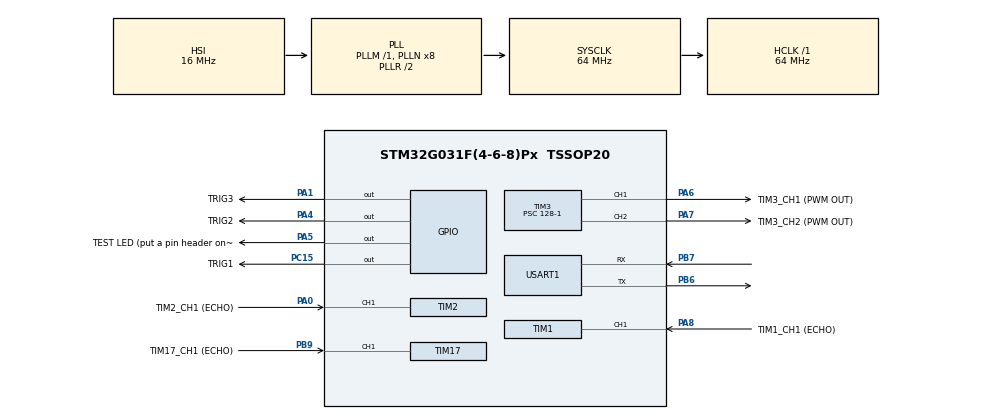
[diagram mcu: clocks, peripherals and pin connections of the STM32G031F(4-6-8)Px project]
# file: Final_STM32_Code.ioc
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Dma.Request0=USART1_RX
Dma.USART1_RX.0.Direction=DMA_PERIPH_TO_MEMORY
Dma.USART1_RX.0.EventEnable=DISABLE
Dma.USART1_RX.0.Instance=DMA1_Channel1
Dma.USART1_RX.0.MemDataAlignment=DMA_MDATAALIGN_BYTE
Dma.USART1_RX.0.MemInc=DMA_MINC_ENABLE
Dma.USART1_RX.0.Mode=DMA_NORMAL
Dma.USART1_RX.0.PeriphDataAlignment=DMA_PDATAALIGN_BYTE
Dma.USART1_RX.0.PeriphInc=DMA_PINC_DISABLE
Dma.USART1_RX.0.Polarity=HAL_DMAMUX_REQ_GEN_RISING
Dma.USART1_RX.0.Priority=DMA_PRIORITY_LOW
Dma.USART1_RX.0.RequestNumber=1
Dma.USART1_RX.0.SignalID=NONE
Dma.USART1_RX.0.SyncEnable=DISABLE
Dma.USART1_RX.0.SyncPolarity=HAL_DMAMUX_SYNC_NO_EVENT
Dma.USART1_RX.0.SyncRequestNumber=1
Dma.USART1_RX.0.SyncSignalID=NONE
Mcu.Family=STM32G0
Mcu.Name=STM32G031F(4-6-8)Px
Mcu.Package=TSSOP20
NVIC.DMA1_Channel1_IRQn=true\:0\:0\:false\:false\:true\:false\:true\:true
NVIC.TIM17_IRQn=true\:0\:0\:false\:false\:true\:true\:true\:true
NVIC.TIM1_CC_IRQn=true\:0\:0\:false\:false\:true\:true\:true\:true
NVIC.TIM2_IRQn=true\:0\:0\:false\:false\:true\:true\:true\:true
NVIC.USART1_IRQn=true\:0\:0\:false\:false\:true\:true\:true\:true
PA0.GPIO_Label=TIM2_CH1 (ECHO)
PA0.Signal=S_TIM2_CH1_ETR
PA1.GPIO_Label=TRIG3
PA1.Signal=GPIO_Output
PA14-BOOT0__PA15.StandardMode=true
PA4.GPIO_Label=TRIG2
PA4.Signal=GPIO_Output
PA5.GPIO_Label=TEST LED (put a pin header on the line)
PA5.Signal=GPIO_Output
PA6.GPIO_Label=TIM3_CH1 (PWM OUT)
PA6.Signal=S_TIM3_CH1
PA7.GPIO_Label=TIM3_CH2 (PWM OUT)
PA7.Signal=S_TIM3_CH2
PA8.GPIO_Label=TIM1_CH1 (ECHO)
PA8.Signal=S_TIM1_CH1
PB0__PB1__PB2__PA8.StandardMode=true
PB3__PB4__PB5__PB6.StandardMode=true
PB6.Mode=Asynchronous
PB6.Signal=USART1_TX
PB7.Mode=Asynchronous
PB7.Signal=USART1_RX
PB7__PB8.StandardMode=true
PB9.GPIO_Label=TIM17_CH1 (ECHO)
PB9.Signal=S_TIM17_CH1
PC14-OSC32_IN\ (PC14)__PB9.StandardMode=true
PC15-OSC32_OUT\ (PC15).GPIO_Label=TRIG1
PC15-OSC32_OUT\ (PC15).Signal=GPIO_Output
ProjectManager.HeapSize=0x200
ProjectManager.StackSize=0x400
ProjectManager.TargetToolchain=STM32CubeIDE
RCC.ADCFreq_Value=64000000
RCC.AHBFreq_Value=64000000
RCC.CortexFreq_Value=64000000
RCC.EXTERNAL_CLOCK_VALUE=12288000
RCC.HCLKFreq_Value=64000000
RCC.HSE_VALUE=8000000
RCC.HSI_VALUE=16000000
RCC.LSE_VALUE=32768
RCC.SYSCLKFreq_VALUE=64000000
RCC.SYSCLKSource=RCC_SYSCLKSOURCE_PLLCLK
RCC.VCOOutputFreq_Value=128000000
SH.S_TIM17_CH1.0=TIM17_CH1,Input_Capture1_from_TI1
SH.S_TIM1_CH1.0=TIM1_CH1,Input_Capture1_from_TI1
SH.S_TIM2_CH1_ETR.0=TIM2_CH1,Input_Capture1_from_TI1
SH.S_TIM3_CH1.0=TIM3_CH1,PWM Generation1 CH1
SH.S_TIM3_CH2.0=TIM3_CH2,PWM Generation2 CH2
TIM1.Channel-Input_Capture1_from_TI1=TIM_CHANNEL_1
TIM1.Prescaler=64-1
TIM17.Channel=TIM_CHANNEL_1
TIM17.Prescaler=64-1
TIM2.Channel-Input_Capture1_from_TI1=TIM_CHANNEL_1
TIM2.Period=65535
TIM2.Prescaler=64-1
TIM3.Channel-PWM\ Generation1\ CH1=TIM_CHANNEL_1
TIM3.Channel-PWM\ Generation2\ CH2=TIM_CHANNEL_2
TIM3.Period=10000-1
TIM3.Prescaler=128-1
USART1.VirtualMode-Asynchronous=VM_ASYNC
VP_TIM17_VS_ClockSourceINT.Mode=Enable_Timer
VP_TIM3_VS_ClockSourceINT.Mode=Internal
board=custom

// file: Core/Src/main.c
/* USER CODE BEGIN Header */
/**
  ******************************************************************************
  * @file           : main.c
  * @brief          : Main program body
  ******************************************************************************
  * @attention
  *
  * Copyright (c) 2023 STMicroelectronics.
  * All rights reserved.
  *
  * This software is licensed under terms that can be found in the LICENSE file
  * in the root directory of this software component.
  * If no LICENSE file comes with this software, it is provided AS-IS.
  *
  ******************************************************************************
  */
/* USER CODE END Header */
#include "main.h"

TIM_HandleTypeDef htim1;
TIM_HandleTypeDef htim2;
TIM_HandleTypeDef htim3;
TIM_HandleTypeDef htim17;

UART_HandleTypeDef huart1;
DMA_HandleTypeDef hdma_usart1_rx;

void SystemClock_Config(void);
static void MX_GPIO_Init(void);
static void MX_DMA_Init(void);
static void MX_USART1_UART_Init(void);
static void MX_TIM17_Init(void);
static void MX_TIM1_Init(void);
static void MX_TIM2_Init(void);
static void MX_TIM3_Init(void);

/* USER CODE BEGIN 0 */
/*********************************************************************************
								Definitions
**********************************************************************************/
#define LED_PIN					GPIO_PIN_5
#define LED_PORT				GPIOA

// HC-SR04 definitions
#define TRIG1_PIN				GPIO_PIN_15
#define TRIG1_PORT				GPIOC

#define TRIG2_PIN				GPIO_PIN_4
#define TRIG2_PORT				GPIOA

#define TRIG3_PIN				GPIO_PIN_1
#define TRIG3_PORT				GPIOA

#define STOP_RANGE_HCSR			70 				// Forward movement stop. If HC-SR04 sees this or less (in cms), stop the motors
#define STOP_RANGE_TURN			25				// Turning is stopped when the HC-SR04 sees this or less in cms

#define HCSR1_timer_handler		htim1
#define HCSR1_TIMER_CHANNEL		TIM_CHANNEL_1
#define HCSR1_TIM_IT_CC			TIM_IT_CC1		// Timer Capture Compare 1 Interrupt
#define HCSR1_TIMER_ADDRESS		TIM1			// Base Address of HCSR1's Timer
#define HCSR1_ACTIVE_CHANNEL	HAL_TIM_ACTIVE_CHANNEL_1

#define HCSR2_timer_handler		htim2
#define HCSR2_TIMER_CHANNEL		TIM_CHANNEL_1
#define HCSR2_TIM_IT_CC			TIM_IT_CC1
#define HCSR2_TIMER_ADDRESS		TIM2
#define HCSR2_ACTIVE_CHANNEL	HAL_TIM_ACTIVE_CHANNEL_1

#define HCSR3_timer_handler		htim17
#define HCSR3_TIMER_CHANNEL		TIM_CHANNEL_1
#define HCSR3_TIM_IT_CC			TIM_IT_CC1
#define HCSR3_TIMER_ADDRESS		TIM17
#define HCSR3_ACTIVE_CHANNEL	HAL_TIM_ACTIVE_CHANNEL_1

#define HCSR_BLOCK_TIMEOUT		75

//#define HCSR4_timer_handler		htim14
//#define HCSR4_TIMER_CHANNEL		TIM_CHANNEL_1
//#define HCSR4_TIM_IT_CC			TIM_IT_CC1
//#define HCSR4_TIMER_ADDRESS		TIM14
//#define HCSR4_ACTIVE_CHANNEL	HAL_TIM_ACTIVE_CHANNEL_1
//
//#define HCSR5_timer_handler		htim17
//#define HCSR5_TIMER_CHANNEL		TIM_CHANNEL_1
//#define HCSR5_TIM_IT_CC			TIM_IT_CC1
//#define HCSR5_TIMER_ADDRESS		TIM17
//#define HCSR5_ACTIVE_CHANNEL	HAL_TIM_ACTIVE_CHANNEL_1

// HC-SR04 Enables (change to 0 to disable. Else, 1.)
#define HCSR1_EN	1
#define HCSR2_EN	1
#define HCSR3_EN	1

// Motor Controller (PWM) definitions
#define pwm_timer_handler 			htim3
#define PWM_LEFT_MOTOR_CHANNEL 		TIM_CHANNEL_1
#define PWM_RIGHT_MOTOR_CHANNEL 	TIM_CHANNEL_2

// Motor Enables (change to 0 to disable. Else, 1.)
#define MOTOR_EN	1

// AoA thresholds
#define LEFT_LIMIT 	-160 // If the tag is more left than this angle, turn
#define RIGHT_LIMIT  160 // If the tag is more right than this angle, turn

// AoA Macros
#define IS_VALID_ANGLE(_angle) (((_angle) >= -179) && ((_angle) <= 179))
#define ISTURN(_angle) (((_angle) > LEFT_LIMIT) && ((_angle) < RIGHT_LIMIT))
#define ISLEFT(_angle) (((_angle) > LEFT_LIMIT) && ((_angle) < 0))
#define ISRIGHT(_angle) (((_angle) >= 0) && ((_angle) < RIGHT_LIMIT))
#define ISSTOP(_hcsr_dist_1, _hcsr_dist_2, _hcsr_dist_3) (((_hcsr_dist_1) < STOP_RANGE_HCSR) || ((_hcsr_dist_2) < STOP_RANGE_HCSR) || ((_hcsr_dist_3) < STOP_RANGE_HCSR))
#define IS_STOP_TURN(_hcsr_dist_1, _hcsr_dist_2, _hcsr_dist_3) (((_hcsr_dist_1) < STOP_RANGE_TURN) || ((_hcsr_dist_2) < STOP_RANGE_TURN) || ((_hcsr_dist_3) < STOP_RANGE_TURN))

// AoA Enables (change to 0 to disable. Else, 1.)
#define AOA_EN	1

// AoA Error Handling (Important)
#define ANGLE_SAMPLING_HALTED_COUNT 12 // If the angle is the same for 4 consecutive times in the super loop, assume that UART sampling is halted and request it again

// AoA USART defines
#define AOA_USART_NUM_BYTES 2 // Change to 3 if adding AoA distance into USART
#define aoa_buffer			rx

// Motor Controller PWM defines
#define FRICTION_OFFSET			5
// Right motor has different friction than the left one. This accounts for that.
#define MAX_TURN_SPEED			RIGHT_LIMIT + 30
// This is the maximum motor speed we want to reach. More than this could be too fast.
#define TURN_SPEED				55		// Turning speed if it is a constant.
#define FORWARD_SPEED			140		// Moving forward speed if it is a constant.
#define MAX_FORWARD_SPEED		160		// This speed is the maximum speed that DOLL-E will move forward.

// Operation Macros
#define MIN(_a, _b, _c) (((_a) < (_b)) ? \
						 ((_a) < (_c)) ? \
						 (_a) : (_c) : ((_b) < (_c)) ? \
						 (_b) : (_c))
#define ABS(_ang_) ((_ang_) < 0 ? -(_ang_) : (_ang_))

// Speed conversion macros
#define ANGLE_TO_SPEED(__angle__) (MAX_TURN_SPEED - ((int32_t)(ABS(__angle__))))
#define HCSR_DIST_TO_SPEED(_d1, _d2, _d3) (MIN(_d1, _d2, _d3) - STOP_RANGE_HCSR)

/*********************************************************************************
								Global Variables
**********************************************************************************/
// State machine variables
// The following 3 variables are the commands to stop and turn the DOLL-E.
// They indicate that DOLL-E should turn, but not that it is turning yet.
uint8_t stop = 1;
uint8_t turn = 0;
uint8_t stopTurn = 1; // Stop from turning

// The following 4 states actually represent the current state of DOLL-E (what it is currently doing).
uint8_t stopped = 1;
uint8_t turningLeft = 0;
uint8_t turningRight = 0;
uint8_t movingStraight = 0;

// AoA variables
int16_t angle = 178; // Angle of asset tag (azimuth) relative to the antenna board
int16_t temp_angle = 178; // For checking the validity of angle before assigning it to variable "angle"
uint8_t rx[AOA_USART_NUM_BYTES]; // Buffer to receive the angle and distance from Pi

// AoA Error Handling variables (IMPORTANT)
uint8_t angleCounter = 0; // Counts how many times the angle hasn't been updated in the while loop
int16_t prevAngle = 0;    // Holds the previous angle value

// HC-SR04 variables
uint32_t IC_VAL1_HCSR1 = 0; // Rising edge time stamp of HCSR1's ECHO pin
uint32_t IC_VAL2_HCSR1 = 0; // Falling edge time stamp of HCSR1's ECHO pin

uint32_t IC_VAL1_HCSR2 = 0;
uint32_t IC_VAL2_HCSR2 = 0;

uint32_t IC_VAL1_HCSR3 = 0;
uint32_t IC_VAL2_HCSR3 = 0;

uint32_t Difference_1 = 0;  // Difference in time between rising and falling edge of HCSR1's ECHO pin
uint32_t Difference_2 = 0;  // Difference in time between rising and falling edge of HCSR2's ECHO pin
uint32_t Difference_3 = 0;

uint8_t Is_First_Captured_1 = 0;  // Indicates whether the rising edge is captured for HCSR1's ECHO pin
uint8_t Is_First_Captured_2 = 0;  // Indicates whether the rising edge is captured for HCSR2's ECHO pin
uint8_t Is_First_Captured_3 = 0;

uint8_t Distance1_flag = 0; // These flags are set to 1 when distance is calculated.
uint8_t Distance2_flag = 0;
uint8_t Distance3_flag = 0;

uint16_t HCSR_Distance_1  = 101; // HCSR04 Distance Sensor #1 output
uint16_t HCSR_Distance_2  = 101; // HCSR04 Distance Sensor #2 output
uint16_t HCSR_Distance_3  = 101; // HCSR04 Distance Sensor #3 output

// USART variables
HAL_StatusTypeDef USART_State = HAL_ERROR;

// Timer variables
uint32_t millis = 0;

/*********************************************************************************
								Macro Functions Begin
**********************************************************************************/
#define HCSR_INPUT_HANDLE(_htim, _HCSR_TIMER_ADDRESS, _HCSR_ACTIVE_CHANNEL, _HCSR_TIMER_CHANNEL, _HCSR_TIM_IT_CC, _Is_First_Captured, _IC_VAL1_HCSR, _IC_VAL2_HCSR, _Difference, _HCSR_Distance, _Dist_Flag) \
		if ((_htim)->Instance == (_HCSR_TIMER_ADDRESS) && (_htim)->Channel == (_HCSR_ACTIVE_CHANNEL)) { \
				if ((_Is_First_Captured) == 0) { \
					/* Take the time stamp of when the rising edge occurs */ \
					_IC_VAL1_HCSR = HAL_TIM_ReadCapturedValue((_htim), (_HCSR_TIMER_CHANNEL)); \
					_Is_First_Captured = 1; /* set the first captured as true */ \
					/* Now change the polarity to falling edge to be able to catch it when it happens */ \
					__HAL_TIM_SET_CAPTUREPOLARITY((_htim), (_HCSR_TIMER_CHANNEL), TIM_INPUTCHANNELPOLARITY_FALLING); \
				} \
				else if ((_Is_First_Captured) == 1) { \
					/* Take the time stamp of when the falling edge occurs */ \
					_IC_VAL2_HCSR = HAL_TIM_ReadCapturedValue((_htim), (_HCSR_TIMER_CHANNEL)); \
		            /* __HAL_TIM_SET_COUNTER(htim, 0);  // reset the counter, kept here just in case */ \
					if ((_IC_VAL2_HCSR) > (_IC_VAL1_HCSR)) { \
						_Difference = (_IC_VAL2_HCSR) - (_IC_VAL1_HCSR); \
					} \
					else if ((_IC_VAL1_HCSR) > (_IC_VAL2_HCSR)) { \
						_Difference = (0xffff - (_IC_VAL1_HCSR)) + (_IC_VAL2_HCSR); \
					} \
					_HCSR_Distance = (_Difference) * .034/2; \
					_Is_First_Captured = 0; /* set it back to false */ \
					_Dist_Flag = 1; /* Set the distance flag to 1 to indicate that the distance is calculated.*/ \
					/* set polarity to rising edge */ \
					__HAL_TIM_SET_CAPTUREPOLARITY((_htim), (_HCSR_TIMER_CHANNEL), TIM_INPUTCHANNELPOLARITY_RISING); \
					/* Disable the interrupt after the distance calculation is done (or the noise can still pull the line up and down and cause interrupts) */ \
					__HAL_TIM_DISABLE_IT((_htim), (_HCSR_TIM_IT_CC)); \
				} \
			}
/*********************************************************************************
								Macro Functions End
**********************************************************************************/

void delay_in_us(uint16_t time)
{
	TIM_HandleTypeDef *htim = NULL;

#if HCSR3_EN
	htim = &HCSR3_timer_handler;
#elif HCSR2_EN
	htim = &HCSR2_timer_handler;
#elif HCSR1_EN
	htim = &HCSR1_timer_handler;
#endif

#if (HCSR3_EN || HCSR2_EN || HCSR1_EN)
	if (htim != NULL)
	{
		__HAL_TIM_SET_COUNTER(htim, 0);
		while (__HAL_TIM_GET_COUNTER(htim) < time);
	}
#endif
}

/*********************************************************************************
								HC-SR04 Functions Begin
**********************************************************************************/
// Timer Input Capture Interrupt Callback for HC-SR04
void HAL_TIM_IC_CaptureCallback(TIM_HandleTypeDef *htim)
{
#if HCSR1_EN
	HCSR_INPUT_HANDLE(htim, HCSR1_TIMER_ADDRESS, HCSR1_ACTIVE_CHANNEL, HCSR1_TIMER_CHANNEL,
					  HCSR1_TIM_IT_CC, Is_First_Captured_1, IC_VAL1_HCSR1, IC_VAL2_HCSR1,
					  Difference_1, HCSR_Distance_1, Distance1_flag);
#endif
#if HCSR2_EN
	HCSR_INPUT_HANDLE(htim, HCSR2_TIMER_ADDRESS, HCSR2_ACTIVE_CHANNEL, HCSR2_TIMER_CHANNEL,
					  HCSR2_TIM_IT_CC, Is_First_Captured_2, IC_VAL1_HCSR2, IC_VAL2_HCSR2,
					  Difference_2, HCSR_Distance_2, Distance2_flag);
#endif
#if HCSR3_EN
	HCSR_INPUT_HANDLE(htim, HCSR3_TIMER_ADDRESS, HCSR3_ACTIVE_CHANNEL, HCSR3_TIMER_CHANNEL,
					  HCSR3_TIM_IT_CC, Is_First_Captured_3, IC_VAL1_HCSR3, IC_VAL2_HCSR3,
					  Difference_3, HCSR_Distance_3, Distance3_flag);
#endif
}

// Pulls the trigger pin high for 10us to start the calculation
void HCSR1_Read (void)
{
#if HCSR1_EN
	Distance1_flag = 0;
	HAL_GPIO_WritePin(TRIG1_PORT, TRIG1_PIN, GPIO_PIN_SET);  // pull the TRIG pin HIGH
	delay_in_us(10);  // wait for 10 us
	HAL_GPIO_WritePin(TRIG1_PORT, TRIG1_PIN, GPIO_PIN_RESET);  // pull the TRIG pin low

	// Enable the interrupt for capturing how long the ECHO pin stays high in order to calculate the distance
	__HAL_TIM_ENABLE_IT(&HCSR1_timer_handler, HCSR1_TIM_IT_CC);
#endif
}

// Pulls the trigger pin high for 10us to start the calculation
void HCSR2_Read (void)
{
#if HCSR2_EN
	Distance2_flag = 0;
	HAL_GPIO_WritePin(TRIG2_PORT, TRIG2_PIN, GPIO_PIN_SET);  // pull the TRIG pin HIGH
	delay_in_us(10);  // wait for 10 us
	HAL_GPIO_WritePin(TRIG2_PORT, TRIG2_PIN, GPIO_PIN_RESET);  // pull the TRIG pin low

	// Enable the interrupt for capturing how long the ECHO pin stays high in order to calculate the distance
	__HAL_TIM_ENABLE_IT(&HCSR2_timer_handler, HCSR2_TIM_IT_CC);
#endif
}

// Pulls the trigger pin high for 10us to start the calculation
void HCSR3_Read (void)
{
#if HCSR3_EN
	Distance3_flag = 0;
	HAL_GPIO_WritePin(TRIG3_PORT, TRIG3_PIN, GPIO_PIN_SET);  // pull the TRIG pin HIGH
	delay_in_us(10);  // wait for 10 us
	HAL_GPIO_WritePin(TRIG3_PORT, TRIG3_PIN, GPIO_PIN_RESET);  // pull the TRIG pin low

	// Enable the interrupt for capturing how long the ECHO pin stays high in order to calculate the distance
	__HAL_TIM_ENABLE_IT(&HCSR3_timer_handler, HCSR3_TIM_IT_CC);
#endif
}
/*********************************************************************************
								HC-SR04 Functions End
**********************************************************************************/

/*********************************************************************************
						Interrupt Callbacks (ISR) Begin
**********************************************************************************/

// UART transmit callback: gets called as soon as STM32 transmits through UART
void HAL_UART_TxCpltCallback(UART_HandleTypeDef *huart)
{
   // do nothing here
}

// This is for preventing the edge case where if the user is standing in the threshold of left and right
// (around 0 in this case), then DOLL-E will constantly move left and right. This buffer will act based on
// previous movements. This will make the new angle output relative the recent angle of the tag.
#define ANGLE_BUFF_SIZE 5
int16_t angle_buff[ANGLE_BUFF_SIZE] = {179, 179, 179, 179, 179}; // Ring buffer (replaces the oldest angle with the new output at each iteration)
uint8_t angle_buff_index = 0;
uint16_t angle_buff_total = 179 * ANGLE_BUFF_SIZE;

// UART receive callback: gets called as soon as STM32 receives through UART
void HAL_UART_RxCpltCallback(UART_HandleTypeDef *huart)
{
	// THE NORMAL CODE BEGIN ********************
	// parse angle from rx buffer
	temp_angle = ((int16_t *)rx)[0];

	// If the angle is valid, then assign it to the global variable
	if (IS_VALID_ANGLE(temp_angle))
	{
		angle = temp_angle;
	}
	else // Else, stop the motors and stop the turning and set the global variable so that DOLL-E thinks it is facing the user.
	{
		stop = 1;
		turn = 0;
		angle = 179;
	}
	// THE NORMAL CODE END **********************

	// NOTE FOR SELF: if communication stops while turning or moving forward, make an error handling to stop motors.
	// Maybe a timer of 5 seconds -> if within 5 seconds no UART receive, then stop motors

// _____________________________________ RELATIVE RECENT ANGLE CALCULATION ____________________________________
// UNCOMMENT THE FOLLOWING BOX WHEN POSSIBLE. IT APPLIES AVERAGING OF THE RECENT ANGLES AND GETS RID OF THE
// EDGE CASE WHERE IF THE USER IS STANDING IN THE THRESHOLD OF LEFT AND RIGHT (AROUND 0 IN OUR CASE), THEN
// DOLL-E WILL KEEP MOVING LEFT AND RIGHT WITHOUT BEING ABLE TO FACE THE USER. IF YOU UNCOMMENT THIS BOX,
// MAKE SURE TO COMMENT THE LINE WHERE "angle" IS BEING ASSIGNED.
//
//	// insert angle into angle buffer
//	temp_angle = ((int16_t *)rx)[0];
//	int16_t val_replaced = angle_buff[angle_buff_index]; // Store the value to be replaced before it is gone.
//
//	if (IS_VALID_ANGLE(temp_angle))
//	{
//		angle_buff[angle_buff_index] = temp_angle;
//	}
//	else
//	{
//		stop = 1;
//		turn = 0;
//		angle_buff[angle_buff_index] = 179;
//	}
//
//	angle_buff_total = angle_buff_total - val_replaced + angle_buff[angle_buff_index]; // Update the sum of angle buff
//	angle_buff_index = (angle_buff_index + 1) % ANGLE_BUFF_SIZE; // update the index in a ring buffer style
//
//	// Round angle efficiently based on its range [-179, 179]. It is ensured through error
//	// handling that the average angle calculated will be within the valid angle range.
//	// Source of the rounding formula: https://www.cs.cmu.edu/~rbd/papers/cmj-float-to-int.html
//	angle = (((int16_t) (((float)angle_buff_total/ANGLE_BUFF_SIZE) + 179.5f)) - 179);
}

// Callback for when you have a constant timer interrupt after a while (e.g. Distance sensor reading every 0.5 seconds)
//void HAL_TIM_PeriodElapsedCallback(TIM_HandleTypeDef* htim)
//{
//
//}
/*********************************************************************************
						Interrupt Callbacks (ISR) End
**********************************************************************************/

/*********************************************************************************
					   Motor Controller Functions Begin
**********************************************************************************/
void speed(int32_t l, int32_t r) // range from -250 to 250
{
	if (l < -250 || l > 250 || r < -250 || r > 250)
	{
		l = 0;
		r = 0;
	}

	uint32_t set_l = (l) + 750;
	if (l == 0)
		set_l = 0;

	uint32_t set_r = (r) + 750;
	if (r == 0)
		set_r = 0;

//	__HAL_TIM_SET_COUNTER(&pwm_timer_handler, 0);
	__HAL_TIM_SET_COMPARE(&pwm_timer_handler, PWM_LEFT_MOTOR_CHANNEL, set_l);
	__HAL_TIM_SET_COMPARE(&pwm_timer_handler, PWM_RIGHT_MOTOR_CHANNEL, set_r);
}

// Input: Left wheel absolute speed
void turnLeft(int32_t speed_val)
{
	turningLeft = 1;
	turningRight = 0;
	stopped = 0;
	movingStraight = 0;

	// Less than FRICTION_OFFSET is there because the friction on the left wheel is more.
	if (speed_val < 0 || speed_val > 250)
	{
		speed(0, 0);
		return;
	}
	else if (speed_val < FRICTION_OFFSET)
	{
		speed_val += FRICTION_OFFSET;
	}

	speed(-1*speed_val, speed_val - FRICTION_OFFSET);
}

// Input: Left wheel absolute speed (since left wheel has the larger absolute value at all times)
void turnRight(int32_t speed_val)
{
	turningRight = 1;
	turningLeft = 0;
	stopped = 0;
	movingStraight = 0;

	// Less than FRICTION_OFFSET is there because the friction on the left wheel is more.
	if (speed_val < 0 || speed_val > 250)
	{
		speed(0, 0);
		return;
	}
	else if (speed_val < FRICTION_OFFSET)
	{
		speed_val += FRICTION_OFFSET;
	}

	speed(speed_val, -1*(speed_val - FRICTION_OFFSET));
}

void turnLeftAnalog(int32_t speed_val, int32_t maxSpeed)
{
	turningLeft = 1;
	turningRight = 0;
	stopped = 0;
	movingStraight = 0;

	if (speed_val < 0)
	{
		speed(0, 0);
		return;
	}
	else if (speed_val > (maxSpeed - FRICTION_OFFSET))
	{
		speed_val = maxSpeed;
	}
	else
	{
		speed_val += FRICTION_OFFSET;
	}

	speed(-1*speed_val, speed_val - FRICTION_OFFSET);
}

void turnRightAnalog(int32_t speed_val, int32_t maxSpeed)
{
	turningRight = 1;
	turningLeft = 0;
	stopped = 0;
	movingStraight = 0;

	if (speed_val < 0)
	{
		speed(0, 0);
		return;
	}
	else if (speed_val > (maxSpeed - FRICTION_OFFSET))
	{
		speed_val = maxSpeed;
	}
	else
	{
		speed_val += FRICTION_OFFSET;
	}

	speed(speed_val, -1*(speed_val - FRICTION_OFFSET));
}

// This function ensures that DOLL-E starts slowing down from (-LEFT_LIMIT - TURN_SPEED) to (-LEFT_LIMIT - 1). If the angle is
// after a certain threshold, DOLL-E caps at the maximum speed of TURN_SPEED.
void turnLeftCapped(int16_t inputAngle)
{
	turningLeft = 1;
	turningRight = 0;
	stopped = 0;
	movingStraight = 0;
	int32_t speed_val = 0;

		// Cap the turning speed at TURN_SPEED (TURN_SPEED is the maximum speed it could achieve while turning)
		if (inputAngle >= (-1*LEFT_LIMIT))
		{
			speed(0, 0);
			return;
		}
		else if (inputAngle >= ((-1*LEFT_LIMIT) - TURN_SPEED + FRICTION_OFFSET))
		{
			speed_val = (-1*LEFT_LIMIT) - inputAngle + FRICTION_OFFSET;
		}
		else
		{
			speed_val = TURN_SPEED;
		}

	speed(-1*speed_val, speed_val - FRICTION_OFFSET);
}

// This function ensures that DOLL-E starts slowing down from (RIGHT_LIMIT - TURN_SPEED) to (RIGHT_LIMIT - 1). If the angle is
// after a certain threshold, DOLL-E caps at the maximum speed of TURN_SPEED.
void turnRightCapped(int16_t inputAngle) // Assumes the angle is positive (absolute)
{
	turningRight = 1;
	turningLeft = 0;
	stopped = 0;
	movingStraight = 0;
	int32_t speed_val = 0;

	// Cap the turning speed at TURN_SPEED (TURN_SPEED is the maximum speed it could achieve while turning)
	if (inputAngle >= RIGHT_LIMIT)
	{
		speed(0, 0);
		return;
	}
	else if (inputAngle >= (RIGHT_LIMIT - TURN_SPEED + FRICTION_OFFSET))
	{
		speed_val = RIGHT_LIMIT - inputAngle + FRICTION_OFFSET;
	}
	else
	{
		speed_val = TURN_SPEED;
	}

	speed(speed_val, -1*(speed_val - FRICTION_OFFSET));
}

// Input: Left wheel absolute speed
// NOTE: Do not use it with analog speed. Assumes that if the speed is larger than max, there is an issue with the system.
void goStraight(int32_t speed_val)
{
	turningLeft = 0;
	turningRight = 0;
	stopped = 0;
	movingStraight = 1;

	// Speed value shouldn't equal 0 when going forward. if it does, make sure to make both wheels 0.
	if (speed_val <= 0 || speed_val > (250 - FRICTION_OFFSET))
	{
		speed(0, 0);
		return;
	}

	speed_val += FRICTION_OFFSET;

	speed(speed_val, speed_val - FRICTION_OFFSET);
}

// Maximum speed is maxSpeed.
void goStraightAnalog(int32_t speed_val, int32_t maxSpeed)
{
	turningLeft = 0;
	turningRight = 0;
	stopped = 0;
	movingStraight = 1;

	// Speed value shouldn't equal 0 when going forward. if it does, make sure to make both wheels 0.
	if (speed_val <= 0)
	{
		speed(0, 0);
		return;
	}
	else if (speed_val > (maxSpeed - FRICTION_OFFSET)) // Theoretically, max speed_val is (400 - HCSR_DIST_RANGE)
	{
		speed_val = maxSpeed;
	}
	else
	{
		speed_val += FRICTION_OFFSET;
	}

	speed(speed_val, speed_val - FRICTION_OFFSET);
}

// After the cap value, the speed is set to FORWARD_SPEED. So, the maximum speed is FORWARD_SPEED, not capVal.
// How many ticks after the STOP_RANGE_HCSR would you like to go in FORWARD_SPEED? That is capVal.
void goStraightAnalogCapped(int32_t speed_val, int32_t capVal)
{
	turningLeft = 0;
	turningRight = 0;
	stopped = 0;
	movingStraight = 1;

	// Speed value shouldn't equal 0 when going forward. if it does, make sure to make both wheels 0.
	if (speed_val <= 0)
	{
		speed(0, 0);
		return;
	}
	else if (speed_val > capVal)
	{
		speed_val = FORWARD_SPEED;
	}
	else
	{
		speed_val += FRICTION_OFFSET;
	}

	speed(speed_val, speed_val - FRICTION_OFFSET);
}

void goStraightWithAdjustments(int32_t speed_val, int16_t angle)
{
	turningLeft = 0;
	turningRight = 0;
	stopped = 0;
	movingStraight = 1;

	if (speed_val <= FRICTION_OFFSET || speed_val > 250)
	{
		speed(0, 0);
		return;
	}

	if (angle < 0 && angle > -170)
	{
		int u = angle + 179;
		speed(speed_val - (int32_t)(2 * u), speed_val);
	}
	else if (angle >= 0 && angle < 170)
	{
		int u = -1 * (angle - 179);
		speed(speed_val, speed_val - (int32_t)(2 * u));
	}
	else
	{
		speed(speed_val, speed_val - FRICTION_OFFSET);
	}
}
/*********************************************************************************
					   Motor Controller Functions End
**********************************************************************************/

/*********************************************************************************
					   Error Handling Functions Begin
**********************************************************************************/
// Reinitializes the AOA USART
void reinitalize_aoa_UART()
{
	HAL_UART_DeInit(&huart1); // Deinitialize USART1
    MX_USART1_UART_Init();    // Reinitialize USART1

    // Call UART interrupt to sample again before it tries to deinitialize again.
    // If it doesn't work, give some delay after it to wait for the new angle to arrive.
    USART_State = HAL_UART_Receive_IT(&huart1, rx, AOA_USART_NUM_BYTES);
}
/*********************************************************************************
					   Error Handling Functions End
**********************************************************************************/

void makeDecision()
{
	 // Update the state.
	  stop = ISSTOP(HCSR_Distance_1, HCSR_Distance_2, HCSR_Distance_3);
	  stopTurn = IS_STOP_TURN(HCSR_Distance_1, HCSR_Distance_2, HCSR_Distance_3);
	  turn = ISTURN(angle);

	  // Interpret the results to send motor commands.
	  if (turn)
	  {
		  if (stopTurn)
		  {
			  if (!stopped)
			  {
				  speed(0, 0);
				  turningLeft = 0;
				  turningRight = 0;
				  stopped = 1;
				  movingStraight = 0;
			  }
		  }
		  else if (ISLEFT(angle))// && !turningLeft) // if (ISLEFT(angle)  && !turningLeft)
		  {
//			   turnLeft(TURN_SPEED);		   							// Turn in a constant speed
			   turnLeftAnalog(ANGLE_TO_SPEED(angle), MAX_TURN_SPEED); 	// Turn in spectrum
//			   turnLeftCapped(ABS(angle));	   							// Turn in limited spectrum (TURN_SPEED is the maximum speed)
		  }
		  else if (ISRIGHT(angle))// && !turningRight) // else if (ISRIGHT(angle) && !turningRight)
		  {
//			   turnRight(TURN_SPEED); 									// Turn in a constant speed
			   turnRightAnalog(ANGLE_TO_SPEED(angle), MAX_TURN_SPEED);	// Turn in spectrum, maximum speed is second argument
//			   turnRightCapped(ABS(angle)); 							// Turn in limited spectrum (TURN_SPEED is the maximum speed)
		  }
	  }
	  else if (stop)
	  {
		  if (!stopped)
		  {
			  turningLeft = 0;
			  turningRight = 0;
			  stopped = 1;
			  movingStraight = 0;
			  speed(0, 0);
		  }
	  }
	  else if (!stop)
	  {
		  // TO DO: HAVE AN ARRAY OF HISTORY FOR EACH DISTANCE SENSOR. HAVE THEIR LAST 5 OR 3 VALUES IN THE ARRAY. EACH DISTANCE
		  // SENSOR'S CURRENT VALUE WILL BE THE AVERAGE OF THEIR LAST 3 OR 5 VALUES. THIS MIGHT NOT NECESSARILY HELP BECAUSE OF
		  // THE WAY OUR FEET MOVE. BUT TRY IT IF YOU HAVE TIME.

//		  if (!movingStraight)
//			  goStraight(FORWARD_SPEED);

//		   goStraightAnalog(HCSR_DIST_TO_SPEED(HCSR_Distance_1, HCSR_Distance_2, HCSR_Distance_3), MAX_FORWARD_SPEED);

//		  goStraightAnalogCapped(HCSR_DIST_TO_SPEED(HCSR_Distance_1, HCSR_Distance_2, HCSR_Distance_3), 40);
		  goStraightWithAdjustments(FORWARD_SPEED ,angle);
	  }

#if AOA_EN
	  if (prevAngle == angle)
	  {
		  angleCounter++;
		  if (angleCounter == 0)
			  angleCounter = 255;
	  }
	  else
	  {
		  angleCounter = 0;
	  }

	  prevAngle = angle; // Update previous angle value

	  // If the angle is outside the valid range, restart the UART.
	  if (!IS_VALID_ANGLE(temp_angle) || angleCounter >= ANGLE_SAMPLING_HALTED_COUNT)
	  {
		  reinitalize_aoa_UART(); // GOTTA TAKE OUT THE USART IT CALL IF WE ARE CALLING IT ALREADY IN THE LOOP
	  }
#endif

	  //
	  //	  // If the angle has been the same value for a while, call the UART Receive interrupt again.
	  //	  if (angleCounter >= ANGLE_SAMPLING_HALTED_COUNT) // CURRENTLY 8, BRING IT DOWN IF NEEDED
	  //	  {
	  //		  USART_State = HAL_UART_Receive_IT(&huart1, rx, AOA_USART_NUM_BYTES);
	  //	  }

	  if (stopped)
		  HAL_GPIO_WritePin(LED_PORT, LED_PIN, GPIO_PIN_SET);
	  else
		  HAL_GPIO_WritePin(LED_PORT, LED_PIN, GPIO_PIN_RESET);
}

/* USER CODE END 0 */

int main(void)
{

  /* MCU Configuration--------------------------------------------------------*/

  /* Reset of all peripherals, Initializes the Flash interface and the Systick. */
  HAL_Init();

  /* Configure the system clock */
  SystemClock_Config();

  /* Initialize all configured peripherals */
  MX_GPIO_Init();
  MX_DMA_Init();
  MX_USART1_UART_Init();
  MX_TIM17_Init();
  MX_TIM1_Init();
  MX_TIM2_Init();
  MX_TIM3_Init();
  /* USER CODE BEGIN 2 */

  // ********** Timer Interrupts Start for HC-SR04 Distance Sensor **********
#if HCSR1_EN
  HAL_TIM_IC_Start_IT(&HCSR1_timer_handler, HCSR1_TIMER_CHANNEL);
#endif
#if HCSR2_EN
  HAL_TIM_IC_Start_IT(&HCSR2_timer_handler, HCSR2_TIMER_CHANNEL);
#endif
#if HCSR3_EN
  HAL_TIM_IC_Start_IT(&HCSR3_timer_handler, HCSR3_TIMER_CHANNEL);
#endif

  // ********** PWM Start for Controlling the Motors **********
#if MOTOR_EN
  HAL_TIM_PWM_Start(&pwm_timer_handler, PWM_LEFT_MOTOR_CHANNEL); // Start the PWM for left motor
  HAL_TIM_PWM_Start(&pwm_timer_handler, PWM_RIGHT_MOTOR_CHANNEL); // Start the PWM for right motor
#endif

  /* USER CODE END 2 */

  /* Infinite loop */
  /* USER CODE BEGIN WHILE */
  speed(0, 0);
  int iter = 0;
  for (iter = 0; iter < 23; iter++)
  {
	  HAL_GPIO_WritePin(LED_PORT, LED_PIN, GPIO_PIN_SET);
	  HAL_Delay(1000);
	  HAL_GPIO_WritePin(LED_PORT, LED_PIN, GPIO_PIN_RESET);
	  HAL_Delay(1000);
  }
  while (1)
  {
#if AOA_EN
	  USART_State = HAL_UART_Receive_IT(&huart1, rx, AOA_USART_NUM_BYTES);
#endif

#if HCSR1_EN
	  HCSR1_Read();
	  millis = HAL_GetTick();
	  while ((Distance1_flag == 0) && ((HAL_GetTick() - millis) <= HCSR_BLOCK_TIMEOUT)) {}
#endif

	  makeDecision();

#if AOA_EN
	  USART_State = HAL_UART_Receive_IT(&huart1, rx, AOA_USART_NUM_BYTES);
#endif

#if HCSR2_EN
	  HCSR2_Read();
	  millis = HAL_GetTick();
	  while ((Distance2_flag == 0) && ((HAL_GetTick() - millis) <= HCSR_BLOCK_TIMEOUT)) {}
#endif

	  makeDecision();

#if AOA_EN
	  USART_State = HAL_UART_Receive_IT(&huart1, rx, AOA_USART_NUM_BYTES);
#endif

#if HCSR3_EN
	  HCSR3_Read();
	  millis = HAL_GetTick();
	  while ((Distance3_flag == 0) && ((HAL_GetTick() - millis) <= HCSR_BLOCK_TIMEOUT)) {}
#endif

	  makeDecision();
    /* USER CODE END WHILE */

  }
}

void SystemClock_Config(void)
{
  RCC_OscInitTypeDef RCC_OscInitStruct = {0};
  RCC_ClkInitTypeDef RCC_ClkInitStruct = {0};

  /** Configure the main internal regulator output voltage
  */
  HAL_PWREx_ControlVoltageScaling(PWR_REGULATOR_VOLTAGE_SCALE1);

  /** Initializes the RCC Oscillators according to the specified parameters
  * in the RCC_OscInitTypeDef structure.
  */
  RCC_OscInitStruct.OscillatorType = RCC_OSCILLATORTYPE_HSI;
  RCC_OscInitStruct.HSIState = RCC_HSI_ON;
  RCC_OscInitStruct.HSIDiv = RCC_HSI_DIV1;
  RCC_OscInitStruct.HSICalibrationValue = RCC_HSICALIBRATION_DEFAULT;
  RCC_OscInitStruct.PLL.PLLState = RCC_PLL_ON;
  RCC_OscInitStruct.PLL.PLLSource = RCC_PLLSOURCE_HSI;
  RCC_OscInitStruct.PLL.PLLM = RCC_PLLM_DIV1;
  RCC_OscInitStruct.PLL.PLLN = 8;
  RCC_OscInitStruct.PLL.PLLP = RCC_PLLP_DIV2;
  RCC_OscInitStruct.PLL.PLLQ = RCC_PLLQ_DIV2;
  RCC_OscInitStruct.PLL.PLLR = RCC_PLLR_DIV2;
  if (HAL_RCC_OscConfig(&RCC_OscInitStruct) != HAL_OK)
  {
    Error_Handler();
  }

  /** Initializes the CPU, AHB and APB buses clocks
  */
  RCC_ClkInitStruct.ClockType = RCC_CLOCKTYPE_HCLK|RCC_CLOCKTYPE_SYSCLK
                              |RCC_CLOCKTYPE_PCLK1;
  RCC_ClkInitStruct.SYSCLKSource = RCC_SYSCLKSOURCE_PLLCLK;
  RCC_ClkInitStruct.AHBCLKDivider = RCC_SYSCLK_DIV1;
  RCC_ClkInitStruct.APB1CLKDivider = RCC_HCLK_DIV1;

  if (HAL_RCC_ClockConfig(&RCC_ClkInitStruct, FLASH_LATENCY_2) != HAL_OK)
  {
    Error_Handler();
  }
}

static void MX_TIM1_Init(void)
{

  TIM_MasterConfigTypeDef sMasterConfig = {0};
  TIM_IC_InitTypeDef sConfigIC = {0};

  htim1.Instance = TIM1;
  htim1.Init.Prescaler = 64-1;
  htim1.Init.CounterMode = TIM_COUNTERMODE_UP;
  htim1.Init.Period = 65535;
  htim1.Init.ClockDivision = TIM_CLOCKDIVISION_DIV1;
  htim1.Init.RepetitionCounter = 0;
  htim1.Init.AutoReloadPreload = TIM_AUTORELOAD_PRELOAD_DISABLE;
  if (HAL_TIM_IC_Init(&htim1) != HAL_OK)
  {
    Error_Handler();
  }
  sMasterConfig.MasterOutputTrigger = TIM_TRGO_RESET;
  sMasterConfig.MasterOutputTrigger2 = TIM_TRGO2_RESET;
  sMasterConfig.MasterSlaveMode = TIM_MASTERSLAVEMODE_DISABLE;
  if (HAL_TIMEx_MasterConfigSynchronization(&htim1, &sMasterConfig) != HAL_OK)
  {
    Error_Handler();
  }
  sConfigIC.ICPolarity = TIM_INPUTCHANNELPOLARITY_RISING;
  sConfigIC.ICSelection = TIM_ICSELECTION_DIRECTTI;
  sConfigIC.ICPrescaler = TIM_ICPSC_DIV1;
  sConfigIC.ICFilter = 0;
  if (HAL_TIM_IC_ConfigChannel(&htim1, &sConfigIC, TIM_CHANNEL_1) != HAL_OK)
  {
    Error_Handler();
  }

}

static void MX_TIM2_Init(void)
{

  TIM_MasterConfigTypeDef sMasterConfig = {0};
  TIM_IC_InitTypeDef sConfigIC = {0};

  htim2.Instance = TIM2;
  htim2.Init.Prescaler = 64-1;
  htim2.Init.CounterMode = TIM_COUNTERMODE_UP;
  htim2.Init.Period = 65535;
  htim2.Init.ClockDivision = TIM_CLOCKDIVISION_DIV1;
  htim2.Init.AutoReloadPreload = TIM_AUTORELOAD_PRELOAD_DISABLE;
  if (HAL_TIM_IC_Init(&htim2) != HAL_OK)
  {
    Error_Handler();
  }
  sMasterConfig.MasterOutputTrigger = TIM_TRGO_RESET;
  sMasterConfig.MasterSlaveMode = TIM_MASTERSLAVEMODE_DISABLE;
  if (HAL_TIMEx_MasterConfigSynchronization(&htim2, &sMasterConfig) != HAL_OK)
  {
    Error_Handler();
  }
  sConfigIC.ICPolarity = TIM_INPUTCHANNELPOLARITY_RISING;
  sConfigIC.ICSelection = TIM_ICSELECTION_DIRECTTI;
  sConfigIC.ICPrescaler = TIM_ICPSC_DIV1;
  sConfigIC.ICFilter = 0;
  if (HAL_TIM_IC_ConfigChannel(&htim2, &sConfigIC, TIM_CHANNEL_1) != HAL_OK)
  {
    Error_Handler();
  }

}

static void MX_TIM3_Init(void)
{

  TIM_ClockConfigTypeDef sClockSourceConfig = {0};
  TIM_MasterConfigTypeDef sMasterConfig = {0};
  TIM_OC_InitTypeDef sConfigOC = {0};

  htim3.Instance = TIM3;
  htim3.Init.Prescaler = 128-1;
  htim3.Init.CounterMode = TIM_COUNTERMODE_UP;
  htim3.Init.Period = 10000-1;
  htim3.Init.ClockDivision = TIM_CLOCKDIVISION_DIV1;
  htim3.Init.AutoReloadPreload = TIM_AUTORELOAD_PRELOAD_DISABLE;
  if (HAL_TIM_Base_Init(&htim3) != HAL_OK)
  {
    Error_Handler();
  }
  sClockSourceConfig.ClockSource = TIM_CLOCKSOURCE_INTERNAL;
  if (HAL_TIM_ConfigClockSource(&htim3, &sClockSourceConfig) != HAL_OK)
  {
    Error_Handler();
  }
  if (HAL_TIM_PWM_Init(&htim3) != HAL_OK)
  {
    Error_Handler();
  }
  sMasterConfig.MasterOutputTrigger = TIM_TRGO_RESET;
  sMasterConfig.MasterSlaveMode = TIM_MASTERSLAVEMODE_DISABLE;
  if (HAL_TIMEx_MasterConfigSynchronization(&htim3, &sMasterConfig) != HAL_OK)
  {
    Error_Handler();
  }
  sConfigOC.OCMode = TIM_OCMODE_PWM1;
  sConfigOC.Pulse = 0;
  sConfigOC.OCPolarity = TIM_OCPOLARITY_HIGH;
  sConfigOC.OCFastMode = TIM_OCFAST_DISABLE;
  if (HAL_TIM_PWM_ConfigChannel(&htim3, &sConfigOC, TIM_CHANNEL_1) != HAL_OK)
  {
    Error_Handler();
  }
  if (HAL_TIM_PWM_ConfigChannel(&htim3, &sConfigOC, TIM_CHANNEL_2) != HAL_OK)
  {
    Error_Handler();
  }
  HAL_TIM_MspPostInit(&htim3);

}

static void MX_TIM17_Init(void)
{

  TIM_IC_InitTypeDef sConfigIC = {0};

  htim17.Instance = TIM17;
  htim17.Init.Prescaler = 64-1;
  htim17.Init.CounterMode = TIM_COUNTERMODE_UP;
  htim17.Init.Period = 65535;
  htim17.Init.ClockDivision = TIM_CLOCKDIVISION_DIV1;
  htim17.Init.RepetitionCounter = 0;
  htim17.Init.AutoReloadPreload = TIM_AUTORELOAD_PRELOAD_DISABLE;
  if (HAL_TIM_Base_Init(&htim17) != HAL_OK)
  {
    Error_Handler();
  }
  if (HAL_TIM_IC_Init(&htim17) != HAL_OK)
  {
    Error_Handler();
  }
  sConfigIC.ICPolarity = TIM_INPUTCHANNELPOLARITY_RISING;
  sConfigIC.ICSelection = TIM_ICSELECTION_DIRECTTI;
  sConfigIC.ICPrescaler = TIM_ICPSC_DIV1;
  sConfigIC.ICFilter = 0;
  if (HAL_TIM_IC_ConfigChannel(&htim17, &sConfigIC, TIM_CHANNEL_1) != HAL_OK)
  {
    Error_Handler();
  }

}

static void MX_USART1_UART_Init(void)
{

  huart1.Instance = USART1;
  huart1.Init.BaudRate = 115200;
  huart1.Init.WordLength = UART_WORDLENGTH_8B;
  huart1.Init.StopBits = UART_STOPBITS_1;
  huart1.Init.Parity = UART_PARITY_NONE;
  huart1.Init.Mode = UART_MODE_TX_RX;
  huart1.Init.HwFlowCtl = UART_HWCONTROL_NONE;
  huart1.Init.OverSampling = UART_OVERSAMPLING_16;
  huart1.Init.OneBitSampling = UART_ONE_BIT_SAMPLE_DISABLE;
  huart1.Init.ClockPrescaler = UART_PRESCALER_DIV1;
  huart1.AdvancedInit.AdvFeatureInit = UART_ADVFEATURE_NO_INIT;
  if (HAL_UART_Init(&huart1) != HAL_OK)
  {
    Error_Handler();
  }
  if (HAL_UARTEx_SetTxFifoThreshold(&huart1, UART_TXFIFO_THRESHOLD_1_8) != HAL_OK)
  {
    Error_Handler();
  }
  if (HAL_UARTEx_SetRxFifoThreshold(&huart1, UART_RXFIFO_THRESHOLD_1_8) != HAL_OK)
  {
    Error_Handler();
  }
  if (HAL_UARTEx_DisableFifoMode(&huart1) != HAL_OK)
  {
    Error_Handler();
  }

}

static void MX_DMA_Init(void)
{

  /* DMA controller clock enable */
  __HAL_RCC_DMA1_CLK_ENABLE();

  /* DMA interrupt init */
  /* DMA1_Channel1_IRQn interrupt configuration */
  HAL_NVIC_SetPriority(DMA1_Channel1_IRQn, 0, 0);
  HAL_NVIC_EnableIRQ(DMA1_Channel1_IRQn);

}

static void MX_GPIO_Init(void)
{
  GPIO_InitTypeDef GPIO_InitStruct = {0};

  /* GPIO Ports Clock Enable */
  __HAL_RCC_GPIOB_CLK_ENABLE();
  __HAL_RCC_GPIOC_CLK_ENABLE();
  __HAL_RCC_GPIOA_CLK_ENABLE();

  /*Configure GPIO pin Output Level */
  HAL_GPIO_WritePin(TRIG1_GPIO_Port, TRIG1_Pin, GPIO_PIN_RESET);

  /*Configure GPIO pin Output Level */
  HAL_GPIO_WritePin(GPIOA, TRIG3_Pin|TRIG2_Pin|TEST_LED_Pin, GPIO_PIN_RESET);

  /*Configure GPIO pin : TRIG1_Pin */
  GPIO_InitStruct.Pin = TRIG1_Pin;
  GPIO_InitStruct.Mode = GPIO_MODE_OUTPUT_PP;
  GPIO_InitStruct.Pull = GPIO_NOPULL;
  GPIO_InitStruct.Speed = GPIO_SPEED_FREQ_LOW;
  HAL_GPIO_Init(TRIG1_GPIO_Port, &GPIO_InitStruct);

  /*Configure GPIO pins : TRIG3_Pin TRIG2_Pin TEST_LED_Pin */
  GPIO_InitStruct.Pin = TRIG3_Pin|TRIG2_Pin|TEST_LED_Pin;
  GPIO_InitStruct.Mode = GPIO_MODE_OUTPUT_PP;
  GPIO_InitStruct.Pull = GPIO_NOPULL;
  GPIO_InitStruct.Speed = GPIO_SPEED_FREQ_LOW;
  HAL_GPIO_Init(GPIOA, &GPIO_InitStruct);

}

void Error_Handler(void)
{
  __disable_irq();
  while (1)
  {
  }
}
